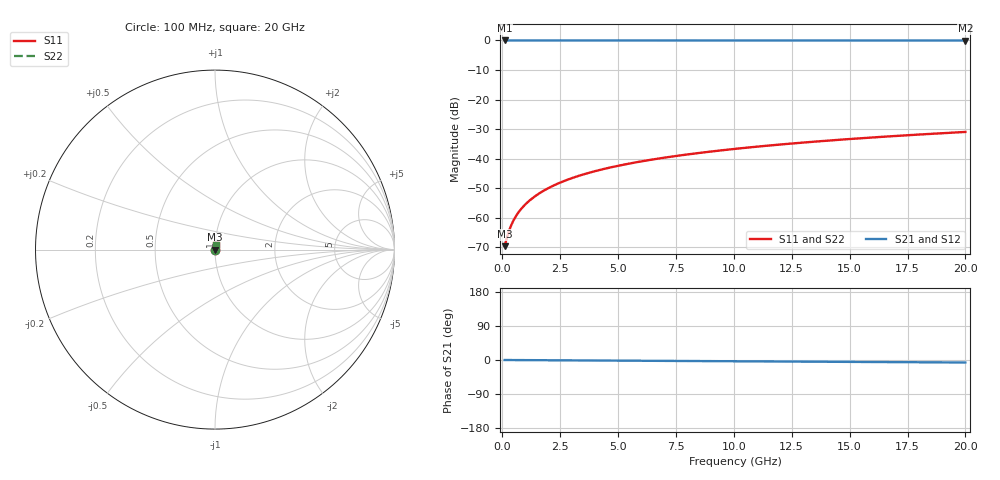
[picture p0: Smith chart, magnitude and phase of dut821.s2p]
! Touchstone file exported from HFSS 2026.1.0
!  File:  C:/ffzhzh/LocalFiles/Ansys_Project_Files/temp_train_TSV_821_1783184522_51560.aedt
!  Generated:  01:03:49 AM Jul  5, 2026
!  Design:  TSV
!  Project:  temp_train_TSV_821_1783184522_51560
! Variables:
!  h_bsmrdl = 2um
!  h_ox = 20um
!  h_rdl = 5um
!  h_sub = 64.11um
!  h_tmrdl = 5um
!  h_tsv = 64.11um
!  h_via = 3um
!  l_bsmrdl = 300um
!  l_sub = 411.02um
!  l_tmrdl = 200um
!  m_sub = 200um
!  pitch = 30.83um
!  r_tsv = 5.51um
!  s_tmrdl = 10um
!  w_bsmrdl = 18um
!  w_sub = 500um
!  w_tmrdl = 12um
!  x_tsv_center1 = 206um
!  x_tsv_center2 = 524um
!  x_tsv_center3 = 736um
!  x_tsv_center4 = 1054um
!  x_tsv_center5 = 1266um
!  x_tsv_center6 = 1584um
# GHz S MA R 50.000000
! Terminal data exported
! Port[1] = TSV1_1_T1
! Port[2] = TSV1_1_T2
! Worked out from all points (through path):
!   200 points, 100 MHz to 20 GHz, reference 50 ohm
!   highest |S21| = 0.00 dB at 100 MHz (marker M1); lowest = 0.0 dB at 20 GHz (marker M2)
!   lowest |S11| = -69.6 dB at 100 MHz (marker M3), VSWR 1.00, Z = 50 + j0.0183 ohm
!   |S11| at or under -10 dB: start of sweep to end of sweep
!   |S22| runs from -69.6 to -30.9 dB; largest |S21 - S12| = 2.5e-15
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0.1  0.0003329 33.2  0.9997 -0.0  0.9997 -0.0  0.0003329 33.2
! Gamma 0 0 0 0
! Port Impedance 50 0 50 0
0.2  0.0004637 51.3  0.9997 -0.1  0.9997 -0.1  0.0004637 51.3
0.3  0.0006173 60.2  0.9997 -0.1  0.9997 -0.1  0.0006173 60.2
0.4  0.0007756 65.1  0.9997 -0.1  0.9997 -0.1  0.0007756 65.1
0.5  0.0009332 68.2  0.9997 -0.2  0.9997 -0.2  0.0009332 68.2
0.6  0.001089 70.4  0.9996 -0.2  0.9996 -0.2  0.001089 70.4
0.8  0.001396 73.4  0.9996 -0.3  0.9996 -0.3  0.001396 73.4
1.1  0.00185 76.2  0.9996 -0.4  0.9996 -0.4  0.00185 76.2
1.3  0.002152 77.4  0.9995 -0.4  0.9995 -0.4  0.002152 77.4
1.6  0.002604 78.8  0.9995 -0.5  0.9995 -0.5  0.002604 78.8
2.1  0.003357 80.1  0.9995 -0.7  0.9995 -0.7  0.003357 80.1
2.7  0.004254 81.0  0.9994 -0.9  0.9994 -0.9  0.004254 81.0
3.5  0.005434 81.6  0.9993 -1.2  0.9993 -1.2  0.005434 81.6
4.2  0.006453 81.9  0.9992 -1.4  0.9992 -1.4  0.006453 81.9
5  0.007603 82.0  0.9991 -1.7  0.9991 -1.7  0.007603 82.0
5.9  0.008883 82.1  0.999 -2.0  0.999 -2.0  0.008883 82.1
6.8  0.01015 82.1  0.999 -2.3  0.999 -2.3  0.01015 82.1
8.3  0.01226 82.1  0.9988 -2.8  0.9988 -2.8  0.01226 82.1
10.1  0.01477 82.0  0.9987 -3.4  0.9987 -3.4  0.01477 82.0
13.4  0.01934 81.5  0.9984 -4.4  0.9984 -4.4  0.01934 81.5
16.7  0.02389 80.8  0.9982 -5.5  0.9982 -5.5  0.02389 80.8
20  0.0284 80.0  0.9979 -6.6  0.9979 -6.6  0.0284 80.0
